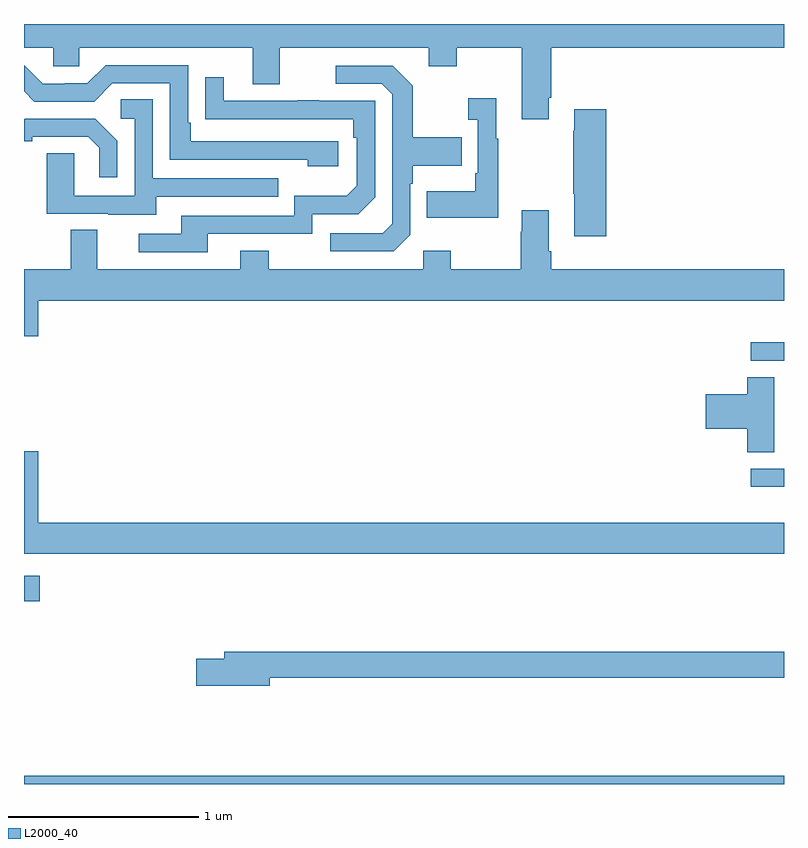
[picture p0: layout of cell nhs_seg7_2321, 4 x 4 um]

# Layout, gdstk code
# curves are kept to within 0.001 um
import gdstk
lib = gdstk.Library(unit=1e-6, precision=1e-09)
def R(c, l, rs):  # rectangles x0, y0, x1, y1
    for r in rs: c.add(gdstk.rectangle(r[:2], r[2:], *l))
def P(c, l, *ps):  # polygons
    for p in ps: c.add(gdstk.Polygon(p, *l))
L2000_40 = (2000, 40)

nhs_seg7_2321 = lib.new_cell('nhs_seg7_2321')
R(nhs_seg7_2321, L2000_40, [(261,1070,265,1070.044), (261,1070.963,261.082,1071.097), (264.825,1071.564,265,1071.66), (264.825,1072.227,265,1072.326)])
P(nhs_seg7_2321, L2000_40, [(263.761,1073.611),(263.774,1073.611),(263.774,1073.876),(265,1073.876),(265,1074),(261,1074),(261,1073.876),(261.153,1073.876),(261.153,1073.778),(261.291,1073.778),(261.291,1073.876),(262.205,1073.876),(262.205,1073.682),(262.345,1073.682),(262.345,1073.876),(263.129,1073.876),(263.129,1073.777),(263.277,1073.777),(263.277,1073.876),(263.621,1073.876),(263.621,1073.499),(263.761,1073.499)],
  [(262.654,1073.382),(261.877,1073.382),(261.877,1073.479),(261.864,1073.479),(261.864,1073.784),(261.429,1073.784),(261.333,1073.688),(261.215,1073.688),(261.215,1073.685),(261.099,1073.685),(261,1073.784),(261,1073.646),(261.054,1073.592),(261.369,1073.592),(261.465,1073.688),(261.768,1073.688),(261.768,1073.286),(262.493,1073.286),(262.493,1073.252),(262.654,1073.252)],
  [(263.034,1072.89),(263.034,1073.159),(263.047,1073.159),(263.047,1073.255),(263.303,1073.255),(263.303,1073.403),(263.047,1073.403),(263.047,1073.675),(262.941,1073.781),(262.641,1073.781),(262.641,1073.685),(262.884,1073.685),(262.938,1073.631),(262.938,1072.95),(262.887,1072.899),(262.611,1072.899),(262.611,1072.803),(262.947,1072.803)],
  [(261.967,1072.896),(262.518,1072.896),(262.518,1072.998),(262.758,1072.998),(262.848,1073.088),(262.848,1073.595),(262.553,1073.595),(262.553,1073.6),(262.441,1073.6),(262.441,1073.595),(262.051,1073.595),(262.051,1073.719),(261.955,1073.719),(261.955,1073.5),(262.732,1073.499),(262.732,1073.402),(262.752,1073.402),(262.752,1073.148),(262.699,1073.095),(262.422,1073.095),(262.422,1072.992),(261.827,1072.992),(261.827,1072.896),(261.603,1072.896),(261.603,1072.8),(261.967,1072.8)],
  [(263.497,1073.395),(263.485,1073.395),(263.485,1073.608),(263.337,1073.608),(263.337,1073.495),(263.388,1073.495),(263.388,1073.215),(263.376,1073.215),(263.376,1073.119),(263.119,1073.119),(263.119,1072.979),(263.497,1072.979)],
  [(261.697,1073.091),(262.337,1073.091),(262.337,1073.187),(261.678,1073.187),(261.678,1073.603),(261.51,1073.603),(261.51,1073.502),(261.582,1073.502),(261.582,1073.097),(261.264,1073.097),(261.264,1073.321),(261.119,1073.321),(261.119,1073.001),(261.443,1073.001),(261.443,1072.997),(261.697,1072.997)],
  [(264.065,1073.551),(263.897,1073.551),(263.897,1073.438),(263.89,1073.438),(263.89,1073.107),(263.897,1073.107),(263.897,1072.884),(264.065,1072.884)],
  [(261.492,1073.386),(261.376,1073.502),(261.004,1073.502),(261.004,1073.499),(261,1073.499),(261,1073.384),(261.043,1073.384),(261.043,1073.406),(261.338,1073.406),(261.395,1073.349),(261.395,1073.193),(261.492,1073.193)],
  [(261.076,1072.544),(265,1072.544),(265,1072.708),(263.774,1072.708),(263.774,1072.804),(263.761,1072.804),(263.761,1073.02),(263.621,1073.02),(263.621,1072.907),(263.614,1072.907),(263.614,1072.708),(263.247,1072.708),(263.247,1072.807),(263.1,1072.807),(263.1,1072.708),(262.287,1072.708),(262.287,1072.807),(262.139,1072.807),(262.139,1072.708),(261.385,1072.708),(261.385,1072.916),(261.245,1072.916),(261.245,1072.708),(261,1072.708),(261,1072.356),(261.076,1072.356)],
  [(264.949,1072.142),(264.806,1072.142),(264.806,1072.052),(264.588,1072.052),(264.588,1071.869),(264.806,1071.869),(264.806,1071.745),(264.949,1071.745)],
  [(265,1071.376),(261.076,1071.376),(261.076,1071.751),(261,1071.751),(261,1071.212),(265,1071.212)],
  [(262.294,1070.56),(265,1070.56),(265,1070.696),(262.055,1070.696),(262.055,1070.66),(261.906,1070.66),(261.906,1070.518),(262.294,1070.518)])

lib.write_gds('nhs_seg7_2321.gds')
